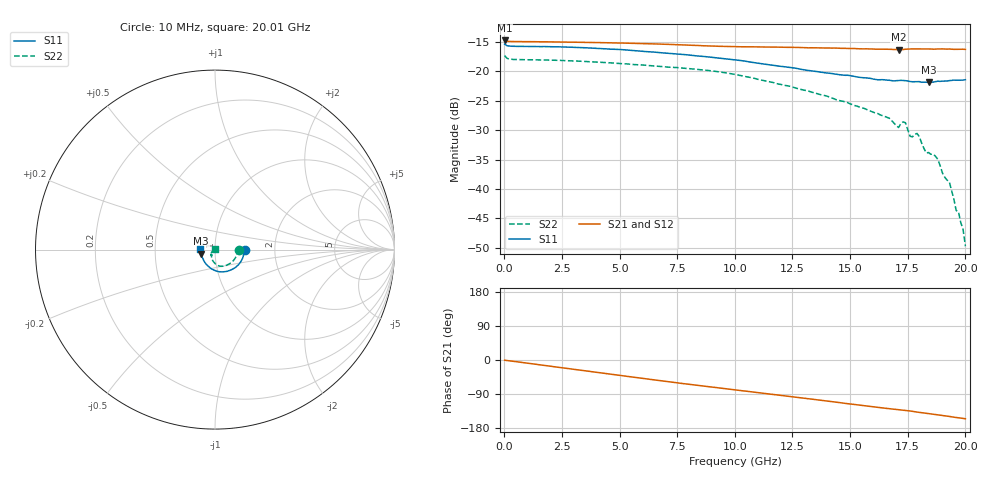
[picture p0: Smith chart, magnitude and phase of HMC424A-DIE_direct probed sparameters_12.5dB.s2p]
!s2p File: Measurements: S11, S21, S12, S22
# GHz S dB R 50.0
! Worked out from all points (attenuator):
!   201 points, 10 MHz to 20.01 GHz, reference 50 ohm
!   highest |S21| = -14.78 dB at 10 MHz (marker M1); lowest = -16.3 dB at 17.11 GHz (marker M2)
!   lowest |S11| = -21.9 dB at 18.41 GHz (marker M3), VSWR 1.17, Z = 42.8 - j1.95 ohm
!   |S11| at or under -10 dB: start of sweep to end of sweep
!   |S22| runs from -49.7 to -17.3 dB; largest |S21 - S12| = 0.0016
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0.01  -15.41 -0.7  -14.78 -0.4  -14.78 -0.4  -17.33 -1.1
0.41  -15.77 -3.5  -14.96 -3.6  -14.96 -3.6  -18.01 -4.0
3.41  -16.01 -26.0  -15.10 -27.8  -15.10 -27.8  -18.33 -26.1
6.71  -16.84 -52.2  -15.39 -54.1  -15.39 -54.1  -19.16 -50.2
10.01  -18.08 -80.5  -15.82 -78.6  -15.83 -78.5  -20.54 -76.0
13.41  -19.98 -111.9  -16.02 -103.8  -16.03 -103.8  -23.64 -98.8
16.71  -21.54 -145.9  -16.28 -128.4  -16.27 -128.4  -27.99 -121.8
17.11  -21.59 -149.3  -16.34 -131.2  -16.27 -131.3  -29.57 -120.3
17.31  -21.58 -151.9  -16.32 -132.5  -16.30 -132.8  -28.60 -123.2
17.41  -21.61 -153.0  -16.27 -133.1  -16.29 -133.5  -28.76 -130.4
17.61  -21.76 -155.0  -16.23 -134.5  -16.27 -135.1  -31.05 -132.1
17.91  -21.78 -157.4  -16.21 -137.4  -16.25 -137.3  -30.57 -131.3
18.31  -21.87 -162.7  -16.21 -140.7  -16.25 -140.6  -33.89 -137.2
18.41  -21.90 -163.6  -16.23 -141.4  -16.25 -141.4  -33.81 -133.7
18.81  -21.70 -167.8  -16.22 -144.7  -16.25 -144.5  -34.97 -145.4
19.01  -21.69 -170.3  -16.21 -146.4  -16.24 -146.3  -37.24 -150.6
19.31  -21.60 -173.6  -16.23 -148.9  -16.22 -148.8  -38.77 -157.1
19.61  -21.53 -177.6  -16.29 -151.6  -16.30 -151.4  -43.66 -171.2
19.71  -21.53 -178.6  -16.28 -152.4  -16.30 -152.2  -43.88 -177.5
19.81  -21.52 -179.7  -16.27 -153.2  -16.27 -153.1  -45.73 173.6
19.91  -21.52 179.4  -16.27 -154.1  -16.28 -154.1  -46.87 155.6
20.01  -21.45 178.3  -16.30 -155.1  -16.29 -155.0  -49.72 128.0
